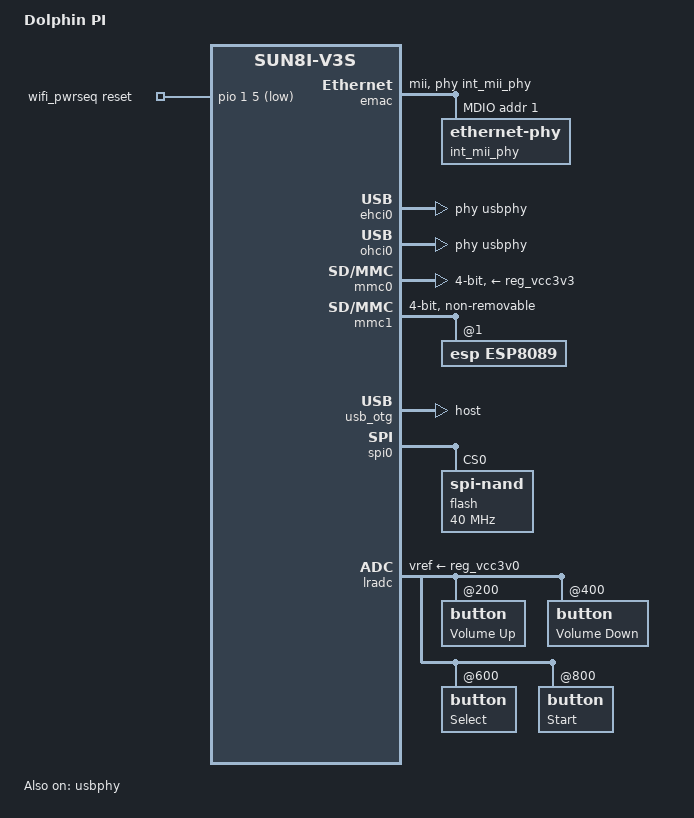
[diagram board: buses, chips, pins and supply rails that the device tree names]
/dts-v1/;
#include "sun8i-v3s.dtsi"
#include "sunxi-common-regulators.dtsi"
#include <dt-bindings/input/input.h>
/ {
	model = "Dolphin PI";
	compatible = "dolphinpi", "allwinner,sun8i-v3s";

	aliases {
		serial0 = &uart0;
		ethernet0 = &emac;
		ethernet1 = &esp8089;
		spi0 = &spi0;
	};

	chosen {
		stdout-path = "serial0:115200n8";
		
		fb0: framebuffer@0 {
			compatible = "allwinner,simple-framebuffer", "simple-framebuffer";
			allwinner,pipeline = "de0-lcd0";
			clocks = <0x2 0x21 0x2 0x23 0x2 0x3f 0x2 0x40>;
			status = "disabled";
		};
	};

	soc {
		syscon: syscon@1c00000 {
			compatible = "allwinner,sun8i-v3s-system-controller",
			"syscon";
			reg = <0x01c00000 0x1000>;
		};


		emac: ethernet@1c30000 {
			compatible = "allwinner,sun8i-v3s-emac";
			syscon = <&syscon>;
			reg = <0x01c30000 0x104>;
			interrupts = <GIC_SPI 82 IRQ_TYPE_LEVEL_HIGH>;
			interrupt-names = "macirq";
			resets = <&ccu RST_BUS_EMAC>;
			reset-names = "stmmaceth";
			clocks = <&ccu CLK_BUS_EMAC>;
			clock-names = "stmmaceth";
			#address-cells = <1>;
			#size-cells = <0>;
			phy-handle = <&int_mii_phy>;
			phy-mode = "mii";
			status = "okay";
			allwinner,leds-active-low;
			
			mdio: mdio {
				#address-cells = <1>;
				#size-cells = <0>;
				compatible = "snps,dwmac-mdio";
			};

			mdio-mux {
				compatible = "mdio-mux", "allwinner,sun8i-h3-mdio-mux";
				#address-cells = <1>;
				#size-cells = <0>;

				mdio-parent-bus = <&mdio>;

				int_mdio: mdio@1 {
					compatible = "allwinner,sun8i-h3-mdio-internal";
					reg = <1>;
					#address-cells = <1>;
					#size-cells = <0>;
					
					int_mii_phy: ethernet-phy@1 {
						reg = <1>;
						clocks = <&ccu CLK_BUS_EPHY>;
						resets = <&ccu RST_BUS_EPHY>;
						phy-is-integrated;
					};
				};
			};
		};

		ehci0: usb@01c1a000 {
			compatible = "allwinner,sun8i-v3s-ehci", "generic-ehci";
			reg = <0x01c1a000 0x100>;
			interrupts = <GIC_SPI 72 IRQ_TYPE_LEVEL_HIGH>;
			clocks = <&ccu CLK_BUS_EHCI0>, <&ccu CLK_BUS_OHCI0>;
			resets = <&ccu RST_BUS_EHCI0>, <&ccu RST_BUS_OHCI0>;
			phys = <&usbphy 0>;
			phy-names = "usb";
			status = "okay";
		};

		ohci0: usb@01c1a400 {
			compatible = "allwinner,sun8i-v3s-ohci", "generic-ohci";
			reg = <0x01c1a400 0x100>;
			interrupts = <GIC_SPI 73 IRQ_TYPE_LEVEL_HIGH>;
			clocks = <&ccu CLK_BUS_EHCI0>, <&ccu CLK_BUS_OHCI0>, <&ccu CLK_USB_OHCI0>;
			resets = <&ccu RST_BUS_EHCI0>, <&ccu RST_BUS_OHCI0>;
			phys = <&usbphy 0>;
			phy-names = "usb";
			status = "okay";
		};
	};

	wifi_pwrseq: wifi_pwrseq {
		compatible = "mmc-pwrseq-simple";
		reset-gpios = <&pio 1 5 GPIO_ACTIVE_LOW>; /* PB5 */
		/* The esp8089 needs 200 ms after driving wifi-en high */
		post-power-on-delay-ms = <200>;
	};
};

&mmc0 { /* SD-Card */
	pinctrl-0 = <&mmc0_pins_a>;
	pinctrl-names = "default";
	broken-cd;
	bus-width = <4>;
	vmmc-supply = <&reg_vcc3v3>;
	status = "okay";
};

/* &reg_dldo1 {
	regulator-min-microvolt = <3300000>;
	regulator-max-microvolt = <3300000>;
	regulator-name = "vcc-wifi";
}; */

&mmc1 { /* WiFi ESP8089 */
	status = "okay";
	bus-width = <4>;
	non-removable;
	mmc-pwrseq = <&wifi_pwrseq>;
	/* vmmc-supply = <&reg_dldo1>; */

	esp8089: sdio_wifi@1 {
		compatible = "esp,esp8089";
		reg = <1>;
		esp,crystal-26M-en = <2>;
	};
};

&usb_otg {
	dr_mode = "host"; /* host, periphal, otg */
	status = "okay";
};

&usbphy {
	/* pinctrl-0 = <&usb0_id_detect_pin>; */
	/* usb0_id_det-gpio = <&pio 5 6 GPIO_ACTIVE_LOW>; */
	status = "okay";
};

/*
&i2c0 {
	pinctrl-0 = <&i2c0_pins>;
	pinctrl-names = "default";
	status = "okay";
};

&i2c1 {
	pinctrl-0 = <&i2c1_pins>;
	pinctrl-names = "default";
	status = "okay";
}; */

/*
&uart2 {
	pinctrl-0 = <&uart2_pins>;
	pinctrl-names = "default";
	status = "okay";
};
*/

&spi0 {
    pinctrl-names = "default";
    pinctrl-0 = <&spi0_pins>;
    status = "okay";

	flash: spinand@0 {
		#address-cells = <1>;
		#size-cells = <1>;
		compatible = "spi-nand";
		reg = <0>;
		spi-max-frequency = <40000000>;

		boot@0 {
			label = "boot";
			reg = <0x0000000 0x0100000>;
		};

		ubi0@100000 {
			label = "ubi0";
			reg = <0x0100000 0x0000000>;
		};

	};
};


/* &codec {
	allwinner,audio-routing = "Headphone", "HP", "Headphone", "HPCOM", "MIC1", "Mic", "Mic", "HBIAS";
	status = "okay";
}; */

&lradc {
	vref-supply = <&reg_vcc3v0>;
	status = "okay";

	button@200 {
		label = "Volume Up";
		linux,code = <KEY_VOLUMEUP>;
		channel = <0>;
		voltage = <200000>;
	};

	button@400 {
		label = "Volume Down";
		linux,code = <KEY_VOLUMEDOWN>;
		channel = <0>;
		voltage = <400000>;
	};

	button@600 {
		label = "Select";
		linux,code = <KEY_SELECT>;
		channel = <0>;
		voltage = <600000>;
	};

	button@800 {
		label = "Start";
		linux,code = <KEY_OK>;
		channel = <0>;
		voltage = <800000>;
	};
};

&pio {
	
/*
	uart2_pins: uart2@2 {
		pins = "PB0", "PB1";
		function = "uart2";
	};
*/
	
	i2c0_pins: i2c0 { /* Display Touchscreen or J512 I2C */
		pins = "PB6", "PB7";
		function = "i2c0";
	};

	twi1_clk: i2c1 {
		pins = "PB8";
		function = "i2c1";
	};

	bbpwm_pins: pppwm { /* PWM for BL as BITBANG-PWM */
		pins = "PB9";
		function = "gpio_out";
	};

	wifi_shdn: wifi {
		pins = "PB5";
		function = "gpio_out";
	};
	
	/* Parallel CSI related */
	csi1_8bit: csi1-8bit@0 {
		pins = "PE6","PE7","PE8","PE9","PE10","PE11","PE12","PE13","PE14","PE15";
		bias-disable;
		function = "csi";
	};

	csi1_clk: csi1-clk@0 {
		pins = "PE0","PE2","PE3";
		bias-disable;
		function = "csi";
	};

	csi1_mclk: csi1-mclk@0 {
		pins = "PE1";
		bias-disable;
		function = "csi";
	};
	
};

